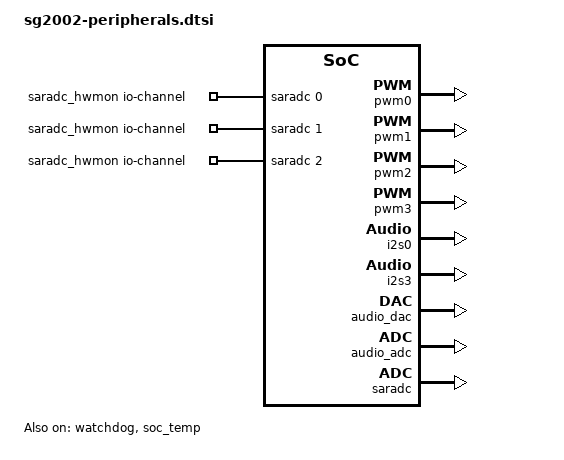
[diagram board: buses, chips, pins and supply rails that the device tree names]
/* Common SG2002 peripheral enablement for the local driver patches.
 * Board identities and external pin routing belong in board descriptions.
 * CPU capabilities come from the patched kernel sg2002.dtsi. */

#include <dt-bindings/clock/sophgo,cv1800.h>

/* DesignWare WDT at 0x03010000. Upstream sg2002.dtsi has every piece
 * in place (CLK_APB_WDT=58 in the clock header, the RST_WDT=48 reset
 * line, dw_wdt driver + snps,dw-wdt binding) except this node — add
 * it so the kernel binds /dev/watchdog0. systemd then pets it via
 * RuntimeWatchdogSec=30s (see modules/includes/usb-recovery.nix).
 * Reset id is the literal 48 because RST_WDT from cv18xx-reset.h
 * isn't exposed as a UAPI dt-bindings header. */
/* The SNPS AXI DMA controller is `status = "disabled"` by default in
 * upstream cv180x.dtsi. Enable it here — audio (i2s → ADC/DAC) needs
 * DMA channels via the dmamux. Without this the dw_axi_dmac driver
 * never binds and every DMA-using child defers probe.
 *
 * Override compatible to `sophgo,cv1800b-axi-dma` (paired with the
 * dw-axi-dmac CV1800B-support kernel patch). With the generic
 * `snps,axi-dma-1.01a`, dw_axi_dma_of_xlate calls
 * dma_get_any_slave_channel() which picks any free channel — but the
 * dmamux registers the I2S handshake against a *specific* channel ID.
 * The mismatch means transfers fire on the wrong channel and IRQs
 * never come back, so arecord opens cleanly then reads return -EIO. */
&dmac {
	compatible = "sophgo,cv1800b-axi-dma";
	status = "okay";
};

&{/soc} {
	watchdog: watchdog@3010000 {
		compatible = "snps,dw-wdt";
		reg = <0x03010000 0x1000>;
		clocks = <&clk CLK_APB_WDT>;
		resets = <&rst 48>;
		/* CV1800/SG2002 synthesizes the WDT IP with
		 * WDT_USE_FIX_TOP=0 (i.e. programmable TOPs) but doesn't
		 * publish the synthesis-time TOP values via DT, so the
		 * dw_wdt driver warns "No valid TOPs array specified" and
		 * falls back to its private dw_wdt_fix_tops (1<<16..1<<31).
		 * Empirically the silicon honours those exact values —
		 * verified by reading WDT_CCVR after a kick at top_val=14:
		 * counter reloads to 0x40000000 = 1<<30 = 42.95 s at the
		 * 25 MHz CLK_APB_WDT, matching dw_wdt_fix_tops[14]. So
		 * declare them explicitly; this just suppresses the warning
		 * and locks the driver/hardware contract. */
		snps,watchdog-tops = <0x00010000 0x00020000 0x00040000 0x00080000
				      0x00100000 0x00200000 0x00400000 0x00800000
				      0x01000000 0x02000000 0x04000000 0x08000000
				      0x10000000 0x20000000 0x40000000 0x80000000>;
		/* Use the largest practical DesignWare TOP as the default.
		 * Without this, dw_wdt starts from its generic 30-second
		 * default, which is too tight for slow SG2002 bring-up paths. */
		timeout-sec = <85>;
		status = "okay";
	};

	/* On-die "tempsen" sensor. Driver in our 0006 kernel patch
	 * (backport of Haylen Chu's v5 LKML series); compatible
	 * sophgo,cv1800-thermal. The driver requires the IRQ for
	 * thermal-zone trip notifications — without an `interrupts`
	 * property, platform_get_irq() in probe returns -ENXIO and the
	 * driver bails. SOC_PERIPHERAL_IRQ(0) corresponds to PLIC
	 * input 16, the tempsen line per vendor cv181x_riscv DT. */
	soc_temp: thermal-sensor@30e0000 {
		compatible = "sophgo,cv1800-thermal";
		reg = <0x030e0000 0x100>;
		clocks = <&clk CLK_TEMPSEN>;
		interrupts = <SOC_PERIPHERAL_IRQ(0) IRQ_TYPE_LEVEL_HIGH>;
		#thermal-sensor-cells = <0>;
		status = "okay";
	};
};

/* Auxiliary SAR-ADC at 0x030F0000. Upstream cv180x.dtsi already
 * declares it disabled with three channels @0..2 — only PIN_ADC1
 * is broken out as a dedicated analog pad on the SG2002 pin set
 * (channels 0 and 2 land on internal nets), but enabling all
 * three is harmless and lets the channels appear under
 * /sys/bus/iio/devices/iio:device0. The iio-hwmon shim below
 * also re-exposes them as in1_input..in3_input under
 * /sys/class/hwmon/hwmonN/ so `sensors` and friends pick them up. */
&saradc {
	/* `#io-channel-cells` is missing from the upstream saradc node
	 * — add it here so iio-hwmon (and any other iio-consumer) can
	 * reference channels via `io-channels = <&saradc N>`. The
	 * sophgo,cv1800b-saradc binding YAML doesn't list it, so this
	 * is also worth upstreaming once we get around to it. */
	#io-channel-cells = <1>;
	status = "okay";
};

/ {
	/* Generic IIO→hwmon bridge. Names the three SAR-ADC channels
	 * as voltage inputs; the shim handles raw→millivolt conversion
	 * using the IIO scale (~0.806 mV/LSB for 12-bit / 3.3 V). */
	saradc_hwmon: iio-hwmon {
		compatible = "iio-hwmon";
		io-channels = <&saradc 0>, <&saradc 1>, <&saradc 2>;
	};
};

/* PWM IP — four instances at 0x03060000..0x03063000, each with 4
 * channels (16 channels total exposed as /sys/class/pwm/pwmchip0..3).
 * Driver in patches/0008 (sophgo,cv1800-pwm). Pinctrl on the SG2002
 * pad set is sparse for PWM — only PIN_PWM0_BUCK is dedicated;
 * other channels reach external pads only via re-muxing UART/etc
 * pads, which is board-specific. Enabled at the IP level here so
 * /sys/class/pwm exists; pad routing is left for the operator
 * (devmem the relevant pinmux register, or add a pinctrl group). */
&{/soc} {
	pwm0: pwm@3060000 {
		compatible = "sophgo,cv1800-pwm";
		reg = <0x03060000 0x1000>;
		clocks = <&clk CLK_PWM>;
		#pwm-cells = <3>;
		status = "okay";
	};
	pwm1: pwm@3061000 {
		compatible = "sophgo,cv1800-pwm";
		reg = <0x03061000 0x1000>;
		clocks = <&clk CLK_PWM>;
		#pwm-cells = <3>;
		status = "okay";
	};
	pwm2: pwm@3062000 {
		compatible = "sophgo,cv1800-pwm";
		reg = <0x03062000 0x1000>;
		clocks = <&clk CLK_PWM>;
		#pwm-cells = <3>;
		status = "okay";
	};
	pwm3: pwm@3063000 {
		compatible = "sophgo,cv1800-pwm";
		reg = <0x03063000 0x1000>;
		clocks = <&clk CLK_PWM>;
		#pwm-cells = <3>;
		status = "okay";
	};
};

&{/soc} {
	/* Audio data path on the cv1800b/SG2002 — verified against
	 * vendor build/boards/default/dts/sg200x/soph_base.dtsi:
	 *
	 *   I2S0 (0x04100000)  rx-only  → wired to internal RXADC
	 *                                 (capability="rx")
	 *   I2S1, I2S2                  → generic external I2S
	 *                                 (NOT connected to internal codec)
	 *   I2S3 (0x04130000)  tx-only  → wired to internal TXDAC
	 *                                 (capability="tx", mclk_out="true"
	 *                                  feeds MCLK to BOTH ADC and DAC)
	 *
	 * The mainline `sophgo,cv1800b-i2s.yaml` example shows I2S1 — that's
	 * an arbitrary external-codec example, NOT the internal-codec path.
	 * Wiring the internal ADC to I2S1 produced full DMA buffers of zero
	 * (I2S1 isn't physically connected to the on-die codec; the FIFO
	 * read returned whatever was on the unconnected external pins).
	 *
	 * For mainline 7.0 capture to work on this board we must:
	 *   - ADC dai-link goes through I2S0 (rx)
	 *   - DAC dai-link goes through I2S3 (tx) AND drives MCLK out
	 */
	i2s0: i2s@4100000 {
		compatible = "sophgo,cv1800b-i2s";
		reg = <0x04100000 0x10000>;
		clocks = <&clk CLK_APB_I2S0>, <&clk CLK_SDMA_AUD0>;
		clock-names = "i2s", "mclk";
		dmas = <&dmamux 0 1>;
		dma-names = "rx";
		#sound-dai-cells = <0>;
		status = "okay";
	};

	i2s3: i2s@4130000 {
		compatible = "sophgo,cv1800b-i2s";
		reg = <0x04130000 0x10000>;
		clocks = <&clk CLK_APB_I2S3>, <&clk CLK_SDMA_AUD3>;
		clock-names = "i2s", "mclk";
		dmas = <&dmamux 7 1>;
		dma-names = "tx";
		#sound-dai-cells = <0>;
		status = "okay";
	};

	audio_dac: audio-codec@300a000 {
		compatible = "sophgo,cv1800b-sound-dac";
		reg = <0x0300a000 0x100>;
		#sound-dai-cells = <0>;
		status = "okay";
	};

	audio_adc: audio-codec@300a100 {
		compatible = "sophgo,cv1800b-sound-adc";
		reg = <0x0300a100 0x100>;
		#sound-dai-cells = <0>;
		status = "okay";
	};
};

/ {
	/* Thermal zone bound to the on-die tempsen above. Driver
	 * requires devm_thermal_of_zone_register() to find a zone
	 * referencing the sensor; without this it returns -ENODEV.
	 * SG2002 Preliminary Datasheet v1.0-alpha, section 2.5.2 note 3
	 * (p. 27) and section 2.5.5 (p. 32), limits packaged DRAM to
	 * 115 °C. Request reboot at 105 °C to leave nominal margin;
	 * this firmware has no working power-off handler. The
	 * 1 s polling delay is borrowed from vendor; the cv1800
	 * driver also fires the zone via threshold IRQ when trips
	 * are crossed, so polling is just a fallback. */
	thermal-zones {
		soc-thermal {
			polling-delay = <1000>;
			polling-delay-passive = <1000>;
			thermal-sensors = <&soc_temp>;
			critical-action = "reboot";

			trips {
				soc_crit: soc-crit {
					temperature = <105000>; /* mC */
					hysteresis = <2000>;
					type = "critical";
				};
			};
		};
	};

	sound {
		compatible = "simple-audio-card";
		simple-audio-card,name = "sg2002-onboard";
		simple-audio-card,format = "i2s";
		/* The cv1800b internal ADC needs mclk_rate set before
		 * hw_params can compute its BCLK divider. Without
		 * mclk-fs, simple-card never calls set_sysclk on the
		 * codec → adc_setbclk_div errors with "could not set
		 * rate, check DT node for fixed clock". 256 → mclk =
		 * 256 * rate; at 48 kHz that's 12.288 MHz, divided
		 * down from the 221.184 MHz I2S sysclk by mclk_div=18. */
		simple-audio-card,mclk-fs = <256>;
		#address-cells = <1>;
		#size-cells = <0>;

		/* DAC dai-link uses I2S3 (TX path to internal TXDAC).
		 * `system-clock-direction-out` on the I2S3 cpu node tells
		 * cv1800b_i2s_dai_set_sysclk to also enable CLK_MCLK_OUT_EN
		 * — the internal RXADC takes its MCLK from I2S3, so this
		 * has to be on for capture to work even though the ADC
		 * link uses a different I2S (I2S0). The DAC link runs
		 * first when both are open simultaneously; for capture-
		 * only flows the ADC link's startup also opens the DAC
		 * link in simple-card so MCLK is gated up either way.
		 *
		 * The cv1800b-i2s driver only accepts CBP_CFP (codec
		 * provider) or CBC_CFC (cpu provider). With no master
		 * phandles, simple-card picks CBC_CFC — I2S3 generates
		 * BCLK/FCLK and the on-die DAC follows. The ADC always
		 * drives its own clocks, so link@1 names it provider. */
		simple-audio-card,dai-link@0 {
			reg = <0>;
			format = "i2s";
			/* I2S3 = TX-only, internal-DAC data path AND the
			 * MCLK source the on-die ADC also uses. Mark its
			 * cpu node clock-direction-out so the i2s driver
			 * sets CLK_MCLK_OUT_EN.
			 *
			 * `system-clock-frequency = <12288000>` short-
			 * circuits simple_util_parse_clk's last-resort
			 * fallback, which otherwise reads the first clock
			 * from the i2s node (CLK_APB_I2S3 @ 300 MHz from
			 * the AXI4 bus) and uses *that* as simple_dai->
			 * sysclk. simple-card's init_dai then calls
			 * set_sysclk(300M) at probe time, which leaves
			 * CLK_SDMA_AUD0/3 (the actual mclk) in a bypass-
			 * pinned state from which the runtime
			 * set_sysclk(12.288M) returns -EINVAL. Pinning
			 * sysclk to mclk-fs × 48000 here keeps
			 * everything consistent. Side-effect: locks the
			 * card to 48 kHz; revisit if we need other rates. */
			cpu {
				sound-dai = <&i2s3>;
				system-clock-direction-out;
				system-clock-frequency = <12288000>;
			};
			codec { sound-dai = <&audio_dac>; };
		};

		simple-audio-card,dai-link@1 {
			reg = <1>;
			format = "i2s";
			/* I2S0 = RX-only, internal-ADC data path. MCLK
			 * comes from I2S3 (above). Same parse_clk fallback
			 * trap as link@0; pin sysclk to 12.288 MHz.
			 *
			 * I2S0 must not generate clocks here too, or it
			 * samples the ADC's frame at an arbitrary offset. */
			bitclock-master = <&adc_link_codec>;
			frame-master = <&adc_link_codec>;
			cpu {
				sound-dai = <&i2s0>;
				system-clock-frequency = <12288000>;
			};
			adc_link_codec: codec { sound-dai = <&audio_adc>; };
		};
	};
};
